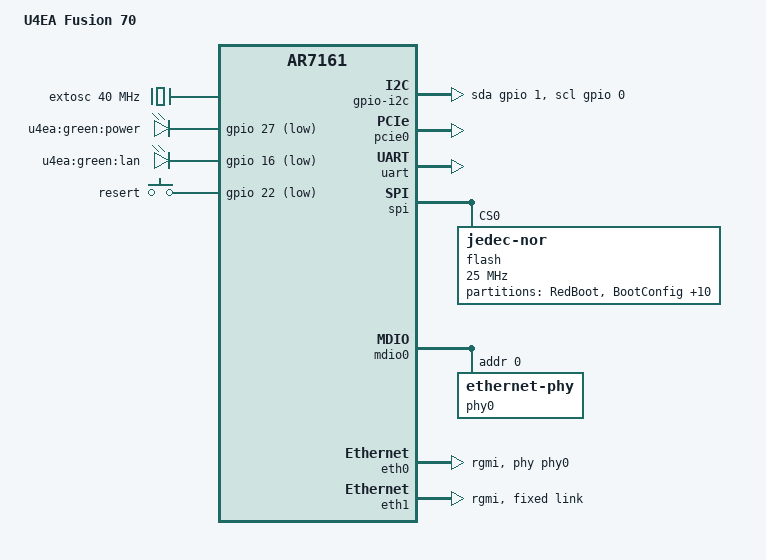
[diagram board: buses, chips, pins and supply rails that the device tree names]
// SPDX-License-Identifier: GPL-2.0-or-later OR MIT
/dts-v1/;

#include <dt-bindings/gpio/gpio.h>
#include <dt-bindings/input/input.h>

#include "ar7100.dtsi"

/ {
	compatible = "u4ea,fusion70", "qca,ar7161";
	model = "U4EA Fusion 70";

	chosen {
		bootargs = "console=ttyS0,115200n8 ethaddr=00.0d.0b.13.6b.00 root=31:04";
	};

	aliases {
		led-status = &system;
	};

	extosc: ref {
		compatible = "fixed-clock";
		#clock-cells = <0>;
		clock-output-names = "ref";
		clock-frequency = <40000000>;
	};

/*	reset-leds {
		compatible = "reset-leds";

		wps {
			label = "netgear:green:usb";
			resets = <&rst 12>;
		};
	};*/

	leds {
		compatible = "gpio-leds";

		system: power_green {
			label = "u4ea:green:power";
			gpios = <&gpio 27 GPIO_ACTIVE_LOW>;
			default-state = "off";
		};

/*		power_orange {
			label = "u4ea:orange:power";
			gpios = <&gpio 10 GPIO_ACTIVE_LOW>;
			default-state = "off";
		};*/

		lan {
			label = "u4ea:green:lan";
			gpios = <&gpio 16 GPIO_ACTIVE_LOW>;
			default-state = "off";
		};

/*		wlan {
			label = "u4ea:green:wlan";
			gpios = <&gpio 12 GPIO_ACTIVE_LOW>;
			default-state = "off";
		};*/
	};

	gpio-i2c {
		compatible = "i2c-gpio";
		sda-gpios = <&gpio 1 (GPIO_ACTIVE_HIGH|GPIO_OPEN_DRAIN)>;
		scl-gpios = <&gpio 0 (GPIO_ACTIVE_HIGH|GPIO_OPEN_DRAIN)>;
		#address-cells = <1>;
		#size-cells = <0>;

	};

	gpio-keys-polled {
		compatible = "gpio-keys";
		#address-cells = <1>;
		#size-cells = <0>;

		button0 {
			label = "resert";
			linux,code = <KEY_RESTART>;
			gpios = <&gpio 22 GPIO_ACTIVE_LOW>;
		};
	};

/*	rtl8366s {
		compatible = "realtek,rtl8366s";
		gpio-sda = <&gpio 5 GPIO_ACTIVE_HIGH>;
		gpio-sck = <&gpio 7 GPIO_ACTIVE_HIGH>;

		mdio-bus {
			status = "okay";

			phy-mask = <0x10>;

			phy4: ethernet-phy@4 {
				reg = <4>;
				phy-mode = "rgmii";
			};
		};
	};*/
};

&pcie0 {
	status = "okay";
};

&uart {
	status = "okay";
};

&spi {
	status = "okay";
	num-cs = <1>;

	flash@0 {
		#address-cells = <1>;
		#size-cells = <1>;
		compatible = "jedec-nor";
		reg = <0>;
		spi-max-frequency = <25000000>;

		partitions {
			compatible = "fixed-partitions";
			#address-cells = <1>;
			#size-cells = <1>;

			partition@0 {
				label = "RedBoot";
				reg = <0x000000 0x040000>;
				read-only;
			};

			partition@40000 {
				label = "BootConfig";
				reg = <0x040000 0x040000>;
				read-only;
			};

			partition@80000 {
				label = "BootConfigSave";
				reg = <0x080000 0x040000>;
				read-only;
			};

			partition@c0000 {
				label = "KernelA";
				reg = <0x0c0000 0x200000>;
			};

			partition@2c0000 {
				label = "RootFsA";
				reg = <0x2c0000 0x4c0000>;
			};

			partition@780000 {
				label = "KernelB";
				reg = <0x780000 0x180000>;
			};

			partition@900000 {
				label = "RootFsB";
				reg = <0x900000 0x300000>;
			};

			partition@c00000 {
				label = "rootfs_data";
				reg = <0xc00000 0x340000>;
			};

			partition@f40000 {
				label = "Test";
				reg = <0xf40000 0x040000>;
				read-only;
			};

			partition@f80000 {
				label = "FIS directory";
				reg = <0xf80000 0x03f000>;
				read-only;
			};

			partition@fbf000 {
				label = "RedBoot config";
				reg = <0xfbf000 0x01000>;
				read-only;
			};

			partition@fc0000 {
				label = "Board data";
				reg = <0xfc0000 0x40000>;
				read-only;
			};
		};
	};
};

&mdio0 {
	status = "okay";

	phy-mask = <0>;
	phy0: ethernet-phy@0 {
		phy-mode = "rgmii";
		reg = <0>;
	};
};

&eth0 {
	status = "okay";

	pll-data = <0x11110000 0x00001099 0x00991099>;
	phy-mode = "rgmi";

	phy-handle = <&phy0>;
};

&eth1 {
	status = "okay";

	pll-data = <0x11110000 0x00001099 0x00991099>;
	phy-mode = "rgmi";
	resets = <&rst 13>;
	reset-names = "mac";

	fixed-link {
		speed = <1000>;
		full-duplex;
	};
};
